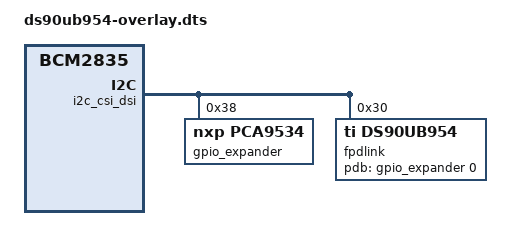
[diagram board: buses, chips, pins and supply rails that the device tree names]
// SPDX-License-Identifier: GPL-2.0-only
// Definitions for IMX219 camera module on VC I2C bus
/dts-v1/;
/plugin/;

#include <dt-bindings/gpio/gpio.h>

/{
	compatible = "brcm,bcm2835";

	fragment@0 {
		target = <&i2c_csi_dsi>;
		__overlay__ {
			#address-cells = <1>;
			#size-cells = <0>;
			status = "okay";

			gpio_expander: gpio@38 {
				compatible = "nxp,pca9534";
				reg = <0x38>;
				gpio-controller;
				#gpio-cells = <2>;
			};

			fpdlink: ds90ub954@30 {
				compatible = "ti,ds90ub954";
				reg = <0x30>;
				status = "okay";
				csi-lane-count = <2>; 				//default: 4
				csi-lane-speed = <1600>; 			//default: 1600

				pdb-gpio = <&gpio_expander 0 0>;

				i2c_address_s0: num-alias-pairs-s0 {list-cells = <2>;};

				serializers {
					status = "okay";
					num-channels = <2>;
					#address-cells = <1>;
					#size-cells = <0>;

					serializer@0 {
						status = "okay";
						rx-channel=<1>; 			//default: 0
						i2c-address=<0x18>;			//default: 0x18
						csi-lane-count = <2>; 		//default: 4

						gpio0-output-enable = <1>;	//default: 0

						/* possible gpio configurations :
						*	- 0x0 (0b0000): connect to GPIO0 of deserializer
						*	- 0x1 (0b0001): connect to GPIO1 of deserializer
						*	- 0x2 (0b0010): connect to GPIO2 of deserializer
						*	- 0x3 (0b0011): connect to GPIO3 of deserializer
						*	- 0x4 (0b0100): connect to GPIO4 of deserializer
						*	- 0x5 (0b0101): connect to GPIO5 of deserializer
						*	- 0x6 (0b0110): connect to GPIO6 of deserializer
						*	- 0x8 (0b1000): Constant value of 0
						*	- 0x9 (0b1001): Constant value of 1
						*	- 0x10 (0b1010): FrameSync signal
						*/

						gpio0-control = <0x9>;	//default: 0x8

						i2c-slave = <&i2c_address_s0 0x10 0x64>;
						slave-alias = <&i2c_address_s0 0x10 0x64>;
					};
				};
			};
		};
	};

};
